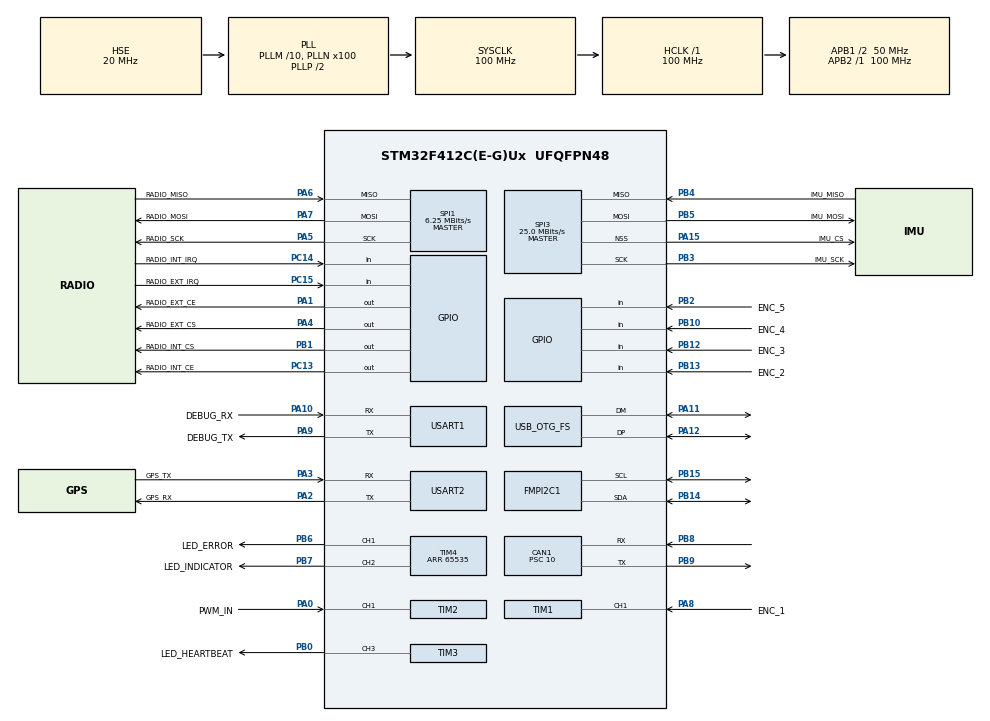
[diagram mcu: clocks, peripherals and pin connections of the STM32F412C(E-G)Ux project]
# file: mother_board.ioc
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CAN1.BS1=CAN_BS1_7TQ
CAN1.BS2=CAN_BS2_2TQ
CAN1.CalculateBaudRate=500000
CAN1.CalculateTimeBit=2000
CAN1.CalculateTimeQuantum=200.0
CAN1.NART=ENABLE
CAN1.Prescaler=10
FMPI2C1.FMPI2C_Fall_Time=30
FMPI2C1.FMPI2C_Rise_Time=30
FMPI2C1.FMPI2C_Speed_Mode=FMPI2C_Fast
FMPI2C1.NoStretchMode=FMPI2C_NOSTRETCH_ENABLE
FMPI2C1.Timing=0x00601956
Mcu.Family=STM32F4
Mcu.Name=STM32F412C(E-G)Ux
Mcu.Package=UFQFPN48
NVIC.OTG_FS_IRQn=true\:0\:0\:false\:false\:true\:false\:true\:true
NVIC.PriorityGroup=NVIC_PRIORITYGROUP_4
PA0.GPIO_Label=PWM_IN
PA0.GPIO_PuPd=GPIO_PULLDOWN
PA0.Signal=S_TIM2_CH1_ETR
PA1.GPIO_Label=RADIO_EXT_CE
PA1.Signal=GPIO_Output
PA10.GPIO_Label=DEBUG_RX
PA10.Mode=Asynchronous
PA10.Signal=USART1_RX
PA11.Mode=Device_Only
PA11.Signal=USB_OTG_FS_DM
PA12.Mode=Device_Only
PA12.Signal=USB_OTG_FS_DP
PA13.Mode=Serial_Wire
PA13.Signal=SYS_JTMS-SWDIO
PA14.Mode=Serial_Wire
PA14.Signal=SYS_JTCK-SWCLK
PA15.GPIO_Label=IMU_CS
PA15.Mode=NSS_Signal_Hard_Output
PA15.Signal=SPI3_NSS
PA2.GPIO_Label=GPS_RX
PA2.Mode=Asynchronous
PA2.Signal=USART2_TX
PA3.GPIO_Label=GPS_TX
PA3.Mode=Asynchronous
PA3.Signal=USART2_RX
PA4.GPIO_Label=RADIO_EXT_CS
PA4.PinState=GPIO_PIN_SET
PA4.Signal=GPIO_Output
PA5.GPIO_Label=RADIO_SCK
PA5.Mode=Full_Duplex_Master
PA5.Signal=SPI1_SCK
PA6.GPIO_Label=RADIO_MISO
PA6.Mode=Full_Duplex_Master
PA6.Signal=SPI1_MISO
PA7.GPIO_Label=RADIO_MOSI
PA7.Mode=Full_Duplex_Master
PA7.Signal=SPI1_MOSI
PA8.GPIO_Label=ENC_1
PA8.GPIO_PuPd=GPIO_PULLDOWN
PA8.Signal=S_TIM1_CH1
PA9.GPIO_Label=DEBUG_TX
PA9.Mode=Asynchronous
PA9.Signal=USART1_TX
PB0.GPIO_Label=LED_HEARTBEAT
PB0.Signal=S_TIM3_CH3
PB1.GPIO_Label=RADIO_INT_CS
PB1.PinState=GPIO_PIN_SET
PB1.Signal=GPIO_Output
PB10.GPIO_Label=ENC_4
PB10.GPIO_PuPd=GPIO_PULLDOWN
PB10.Signal=GPIO_Input
PB12.GPIO_Label=ENC_3
PB12.GPIO_PuPd=GPIO_PULLDOWN
PB12.Signal=GPIO_Input
PB13.GPIO_Label=ENC_2
PB13.GPIO_PuPd=GPIO_PULLDOWN
PB13.Signal=GPIO_Input
PB14.Mode=I2C
PB14.Signal=FMPI2C1_SDA
PB15.Mode=I2C
PB15.Signal=FMPI2C1_SCL
PB2.GPIO_Label=ENC_5
PB2.GPIO_PuPd=GPIO_PULLDOWN
PB2.Signal=GPIO_Input
PB3.GPIO_Label=IMU_SCK
PB3.Mode=Full_Duplex_Master
PB3.Signal=SPI3_SCK
PB4.GPIO_Label=IMU_MISO
PB4.Mode=Full_Duplex_Master
PB4.Signal=SPI3_MISO
PB5.GPIO_Label=IMU_MOSI
PB5.Mode=Full_Duplex_Master
PB5.Signal=SPI3_MOSI
PB6.GPIO_Label=LED_ERROR
PB6.Signal=S_TIM4_CH1
PB7.GPIO_Label=LED_INDICATOR
PB7.Signal=S_TIM4_CH2
PB8.Mode=CAN_Activate
PB8.Signal=CAN1_RX
PB9.Mode=CAN_Activate
PB9.Signal=CAN1_TX
PC13.GPIO_Label=RADIO_INT_CE
PC13.Signal=GPIO_Output
PC14-OSC32_IN.GPIO_Label=RADIO_INT_IRQ
PC14-OSC32_IN.GPIO_PuPd=GPIO_PULLUP
PC14-OSC32_IN.Signal=GPIO_Input
PC15-OSC32_OUT.GPIO_Label=RADIO_EXT_IRQ
PC15-OSC32_OUT.GPIO_PuPd=GPIO_PULLUP
PC15-OSC32_OUT.Signal=GPIO_Input
PH0\ -\ OSC_IN.Mode=HSE-External-Oscillator
PH0\ -\ OSC_IN.Signal=RCC_OSC_IN
PH1\ -\ OSC_OUT.Mode=HSE-External-Oscillator
PH1\ -\ OSC_OUT.Signal=RCC_OSC_OUT
ProjectManager.HeapSize=0x200
ProjectManager.StackSize=0x400
ProjectManager.TargetToolchain=STM32CubeIDE
RCC.AHBFreq_Value=100000000
RCC.APB1CLKDivider=RCC_HCLK_DIV2
RCC.APB1Freq_Value=50000000
RCC.APB1TimFreq_Value=100000000
RCC.APB2Freq_Value=100000000
RCC.APB2TimFreq_Value=100000000
RCC.CortexFreq_Value=100000000
RCC.HCLKFreq_Value=100000000
RCC.HSE_VALUE=20000000
RCC.PLLI2SQ=5
RCC.PLLM=10
RCC.PLLN=100
RCC.PLLQ=4
RCC.SYSCLKFreq_VALUE=100000000
RCC.SYSCLKSource=RCC_SYSCLKSOURCE_PLLCLK
RCC.USBCLockSelection=RCC_CLK48CLKSOURCE_PLLI2SQ
RCC.USBFreq_Value=48000000
RCC.VCOOutputFreq_Value=200000000
SH.S_TIM1_CH1.0=TIM1_CH1,Input_Capture1_from_TI1
SH.S_TIM2_CH1_ETR.0=TIM2_CH1,Input_Capture1_from_TI1
SH.S_TIM3_CH3.0=TIM3_CH3,PWM Generation3 CH3
SH.S_TIM4_CH1.0=TIM4_CH1,PWM Generation1 CH1
SH.S_TIM4_CH2.0=TIM4_CH2,PWM Generation2 CH2
SPI1.BaudRatePrescaler=SPI_BAUDRATEPRESCALER_16
SPI1.CLKPolarity=SPI_POLARITY_LOW
SPI1.CalculateBaudRate=6.25 MBits/s
SPI1.Direction=SPI_DIRECTION_2LINES
SPI1.Mode=SPI_MODE_MASTER
SPI1.VirtualType=VM_MASTER
SPI3.CalculateBaudRate=25.0 MBits/s
SPI3.Direction=SPI_DIRECTION_2LINES
SPI3.Mode=SPI_MODE_MASTER
SPI3.VirtualNSS=VM_NSSHARD
SPI3.VirtualType=VM_MASTER
TIM1.Channel-Input_Capture1_from_TI1=TIM_CHANNEL_1
TIM2.Channel-Input_Capture1_from_TI1=TIM_CHANNEL_1
TIM2.Prescaler=1
TIM3.Channel-PWM\ Generation3\ CH3=TIM_CHANNEL_3
TIM3.Pulse-PWM\ Generation3\ CH3=65535
TIM4.Channel-PWM\ Generation1\ CH1=TIM_CHANNEL_1
TIM4.Channel-PWM\ Generation2\ CH2=TIM_CHANNEL_2
TIM4.Period=65535
TIM4.Pulse-PWM\ Generation1\ CH1=65535
TIM4.Pulse-PWM\ Generation2\ CH2=65535
TIM8.Prescaler=99
USART1.VirtualMode=VM_ASYNC
USART2.VirtualMode=VM_ASYNC
USB_DEVICE.CLASS_NAME_FS=CDC
USB_DEVICE.MANUFACTURER_STRING=HPVDT
USB_DEVICE.PID_CDC_FS=64028
USB_DEVICE.PRODUCT_STRING_CDC_FS=Falcon Mother Board Rev. 3.0
USB_DEVICE.VID=51888
USB_DEVICE.VirtualMode=Cdc
USB_DEVICE.VirtualModeFS=Cdc_FS
USB_OTG_FS.VirtualMode=Device_Only
VP_TIM1_VS_ClockSourceINT.Mode=Internal
VP_TIM2_VS_ClockSourceINT.Mode=Internal
VP_TIM3_VS_ClockSourceINT.Mode=Internal
VP_TIM4_VS_ClockSourceINT.Mode=Internal
VP_TIM8_VS_ClockSourceINT.Mode=Internal
VP_USB_DEVICE_VS_USB_DEVICE_CDC_FS.Mode=CDC_FS
board=custom

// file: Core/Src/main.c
/* USER CODE BEGIN Header */
/**
  ******************************************************************************
  * @file           : main.c
  * @brief          : Main program body
  ******************************************************************************
  * @attention
  *
  * Copyright (c) 2025 STMicroelectronics.
  * All rights reserved.
  *
  * This software is licensed under terms that can be found in the LICENSE file
  * in the root directory of this software component.
  * If no LICENSE file comes with this software, it is provided AS-IS.
  *
  ******************************************************************************
  */
/* USER CODE END Header */
#include "main.h"
#include "can.h"
#include "fmpi2c.h"
#include "spi.h"
#include "tim.h"
#include "usart.h"
#include "usb_device.h"
#include "gpio.h"

/* USER CODE BEGIN Includes */
#include <stdbool.h>
#include <stdint.h>
#include "usbd_cdc_if.h"
#include "string.h"
#include "led_operation.h"
#include "can_wrapper.h"
#include "wing_modules.h"
#include "ina219.h"
#include "atmosphere.h"
#include "position.h"
#include "radio.h"
/* USER CODE END Includes */

/* USER CODE BEGIN PV */
TIM_HandleTypeDef* led_err_clk = &htim4;
uint32_t led_err_chn = TIM_CHANNEL_1;
TIM_HandleTypeDef* led_ind_clk = &htim4;
uint32_t led_ind_chn = TIM_CHANNEL_2;
TIM_HandleTypeDef* led_heartbeat_clk = &htim3;
uint32_t led_heartbeat_chn = TIM_CHANNEL_3;

const uint32_t I2C_TIMEOUT = 10; // Timeout to be used for I2C interactions

/* USER CODE END PV */

void SystemClock_Config(void);
/* USER CODE BEGIN PFP */
#ifdef __GNUC__
/* With GCC/RAISONANCE, small printf (option LD Linker->Libraries->Small printf
   set to 'Yes') calls __io_putchar() */
#define PUTCHAR_PROTOTYPE int __io_putchar(int ch)
#else
#define PUTCHAR_PROTOTYPE int fputc(int ch, FILE *f)
#endif /* __GNUC__ */
/* USER CODE END PFP */

int main(void)
{

  /* MCU Configuration--------------------------------------------------------*/

  /* Reset of all peripherals, Initializes the Flash interface and the Systick. */
  HAL_Init();

  /* Configure the system clock */
  SystemClock_Config();

  /* Initialize all configured peripherals */
  MX_GPIO_Init();
  MX_USB_DEVICE_Init();
  MX_CAN1_Init();
  MX_FMPI2C1_Init();
  MX_USART1_UART_Init();
  MX_USART2_UART_Init();
  MX_SPI1_Init();
  MX_SPI3_Init();
  MX_TIM3_Init();
  MX_TIM4_Init();
  MX_TIM2_Init();
  MX_TIM1_Init();
  MX_TIM8_Init();
  /* USER CODE BEGIN 2 */
  	struct CompleteAircraftData aircraft_data = {0};

	struct LEDMoBoConfig led_config = {
		  .error_timer = led_err_clk,
		  .error_channel = led_err_chn,
		  .indicator_timer = led_ind_clk,
		  .indicator_channel = led_ind_chn,
		  .heartbeat_timer = led_heartbeat_clk,
		  .heartbeat_channel = led_heartbeat_chn,
	};
	led_setup(&led_config);

//	wing_setup(&hcan1);
	uint8_t usb_tx_buffer[500] = {0};
	uint16_t usb_tx_length = 0;

	HAL_StatusTypeDef ret = ina219_setup(&hfmpi2c1, I2C_TIMEOUT);
	printf("INA219 setup result: %d\n\r", ret);

	ret = atmo_setup(&hfmpi2c1, I2C_TIMEOUT);

	ret = pos_setup(&hfmpi2c1, I2C_TIMEOUT);

	radio_setup();
  /* USER CODE END 2 */

  /* Infinite loop */
  /* USER CODE BEGIN WHILE */
  while (1)
  {
//	  if (HAL_CAN_GetRxFifoFillLevel(&hcan1, CAN_LOAD_FIFO) > 0) {
//		  CAN_RxHeaderTypeDef rx_header = {0};
//		  uint8_t rx_buffer[8] = {0};
//		  HAL_CAN_GetRxMessage(&hcan1, CAN_LOAD_FIFO, &rx_header, rx_buffer);
//
//		  wing_record_strain(rx_header.StdId, rx_buffer);
//	  }
    /* USER CODE END WHILE */

    /* USER CODE BEGIN 3 */

		uint32_t data_sent = HAL_GetTick();

		radio_broadcast_data(&aircraft_data);

		radio_receive_internal(&aircraft_data);

      led_operate(&led_config);

//		uint32_t current_tick = HAL_GetTick();
//		const uint32_t PRINT_PERIOD_TICKS = 1000;
//		static uint32_t next_print_tick = 0;
//		if (current_tick > next_print_tick) {
//			usb_tx_length = print_nice_loading(usb_tx_buffer, sizeof(usb_tx_buffer));
//			next_print_tick = current_tick + PRINT_PERIOD_TICKS;
//		}
//		else buffer[0] = '\0'; // Nullify the buffer

//      if (usb_tx_length > 0) {
//    	  CDC_Transmit_FS(usb_tx_buffer, usb_tx_length);
//    	  wing_setup(&hcan1);
//      }
      HAL_Delay(1000);

//      struct AtmoConditions atmo_cond = {0};
//      ret = atmo_conditions_update(&atmo_cond);
//      printf("[%d]T: %.2f\tH: %.2f\tP: %.2f\tCO2: %d\n\r", ret, atmo_cond.temperature_c,
//    		  atmo_cond.humidity_rel, atmo_cond.static_pressure_pa, atmo_cond.co2_ppm);
//      struct OrientationState orientation = {0};
//      ret = pos_orientation_update(&orientation);
//      printf("[%d]R: %6.1f\tP: %6.1f\tY: %6.1f\n\r", ret, orientation.roll_deg, orientation.pitch_deg, orientation.yaw_deg);
  }
  /* USER CODE END 3 */
}

void SystemClock_Config(void)
{
  RCC_OscInitTypeDef RCC_OscInitStruct = {0};
  RCC_ClkInitTypeDef RCC_ClkInitStruct = {0};

  /** Configure the main internal regulator output voltage
  */
  __HAL_RCC_PWR_CLK_ENABLE();
  __HAL_PWR_VOLTAGESCALING_CONFIG(PWR_REGULATOR_VOLTAGE_SCALE1);

  /** Initializes the RCC Oscillators according to the specified parameters
  * in the RCC_OscInitTypeDef structure.
  */
  RCC_OscInitStruct.OscillatorType = RCC_OSCILLATORTYPE_HSE;
  RCC_OscInitStruct.HSEState = RCC_HSE_ON;
  RCC_OscInitStruct.PLL.PLLState = RCC_PLL_ON;
  RCC_OscInitStruct.PLL.PLLSource = RCC_PLLSOURCE_HSE;
  RCC_OscInitStruct.PLL.PLLM = 10;
  RCC_OscInitStruct.PLL.PLLN = 100;
  RCC_OscInitStruct.PLL.PLLP = RCC_PLLP_DIV2;
  RCC_OscInitStruct.PLL.PLLQ = 4;
  RCC_OscInitStruct.PLL.PLLR = 2;
  if (HAL_RCC_OscConfig(&RCC_OscInitStruct) != HAL_OK)
  {
    Error_Handler();
  }

  /** Initializes the CPU, AHB and APB buses clocks
  */
  RCC_ClkInitStruct.ClockType = RCC_CLOCKTYPE_HCLK|RCC_CLOCKTYPE_SYSCLK
                              |RCC_CLOCKTYPE_PCLK1|RCC_CLOCKTYPE_PCLK2;
  RCC_ClkInitStruct.SYSCLKSource = RCC_SYSCLKSOURCE_PLLCLK;
  RCC_ClkInitStruct.AHBCLKDivider = RCC_SYSCLK_DIV1;
  RCC_ClkInitStruct.APB1CLKDivider = RCC_HCLK_DIV2;
  RCC_ClkInitStruct.APB2CLKDivider = RCC_HCLK_DIV1;

  if (HAL_RCC_ClockConfig(&RCC_ClkInitStruct, FLASH_LATENCY_3) != HAL_OK)
  {
    Error_Handler();
  }
}

/* USER CODE BEGIN 4 */
/**
  * @brief  Retargets the C library printf function to the USART.
  * @param  None
  * @retval None
  */
PUTCHAR_PROTOTYPE
{
  /* Place your implementation of fputc here */
  /* e.g. write a character to the USART1 and Loop until the end of transmission */
  HAL_UART_Transmit(&huart1, (uint8_t *)&ch, 1, 0xFFFF);

  return ch;
}
/* USER CODE END 4 */

void Error_Handler(void)
{
  __disable_irq();
  while (1)
  {
  }
}
